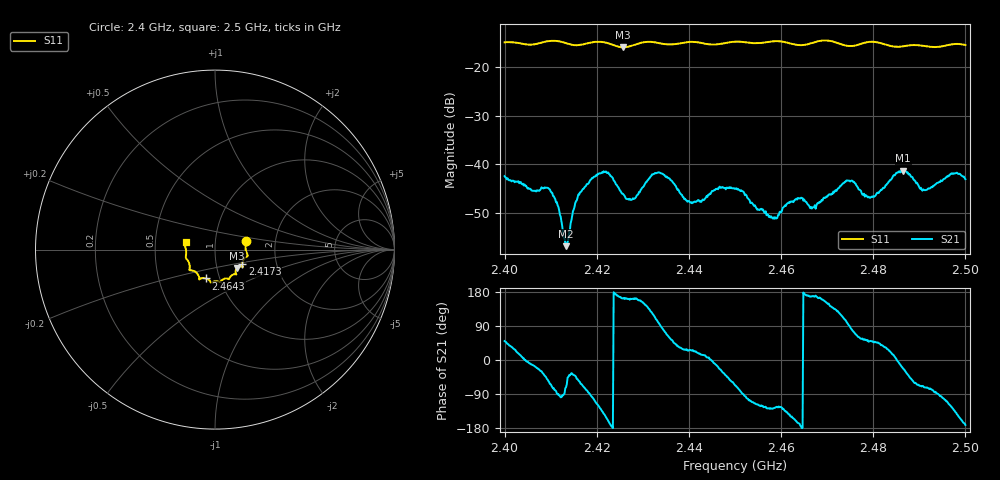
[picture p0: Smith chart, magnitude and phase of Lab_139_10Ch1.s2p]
# Hz S RI R 50
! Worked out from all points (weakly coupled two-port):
!   601 points, 2.4 GHz to 2.5 GHz, reference 50 ohm
!   highest |S21| = -41.34 dB at 2.4865 GHz (marker M1); lowest = -56.9 dB at 2.4133 GHz (marker M2)
!   lowest |S11| = -15.9 dB at 2.4257 GHz (marker M3), VSWR 1.38, Z = 62.5 - j13.1 ohm
!   |S11| at or under -10 dB: start of sweep to end of sweep
!   S12 and S22 are empty: the file has one direction only
!   S11 on the Smith chart (normalised r, x): 2.4 GHz: 1.41, +0.14; 2.4173 GHz: 1.34, -0.23; 2.4643 GHz: 0.86, -0.28; 2.5 GHz: 0.72, +0.06
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2.4e9  0.1731 0.0488  0.00485 0.00578  0 0  0 0
2.409833e9  0.1833 -0.0318  0.00249 -0.00489  0 0  0 0
2.4115e9  0.1821 -0.0357  -5.81e-05 -0.00378  0 0  0 0
2.413333e9  0.1712 -0.0426  0.000453 -0.00136  0 0  0 0
2.416667e9  0.153 -0.0746  0.00234 -0.00472  0 0  0 0
2.417333e9  0.1522 -0.082  0.00166 -0.00554  0 0  0 0
2.422e9  0.1513 -0.0949  -0.00735 -0.00413  0 0  0 0
2.425667e9  0.1227 -0.1025  -0.00474 0.00149  0 0  0 0
2.428e9  0.1147 -0.1236  -0.00415 0.00145  0 0  0 0
2.433333e9  0.113 -0.1368  -0.00132 0.00813  0 0  0 0
2.440167e9  0.0792 -0.1637  0.00363 0.00184  0 0  0 0
2.45e9  0.0292 -0.1808  0.00219 -0.00511  0 0  0 0
2.4585e9  -0.0202 -0.1836  -0.00164 -0.0022  0 0  0 0
2.464333e9  -0.05 -0.1608  -0.00451 -0.000364  0 0  0 0
2.466667e9  -0.076 -0.1597  -0.00341 0.000757  0 0  0 0
2.474333e9  -0.1001 -0.1322  -0.000954 0.00675  0 0  0 0
2.479333e9  -0.1417 -0.1148  0.00288 0.00347  0 0  0 0
2.483333e9  -0.1408 -0.0901  0.00589 0.00297  0 0  0 0
2.4865e9  -0.1528 -0.0594  0.00788 -0.00336  0 0  0 0
2.491e9  -0.162 -0.034  0.0017 -0.00517  0 0  0 0
2.497167e9  -0.1699 0.027  -0.00476 -0.00637  0 0  0 0
2.5e9  -0.1638 0.0419  -0.00693 -0.00105  0 0  0 0
